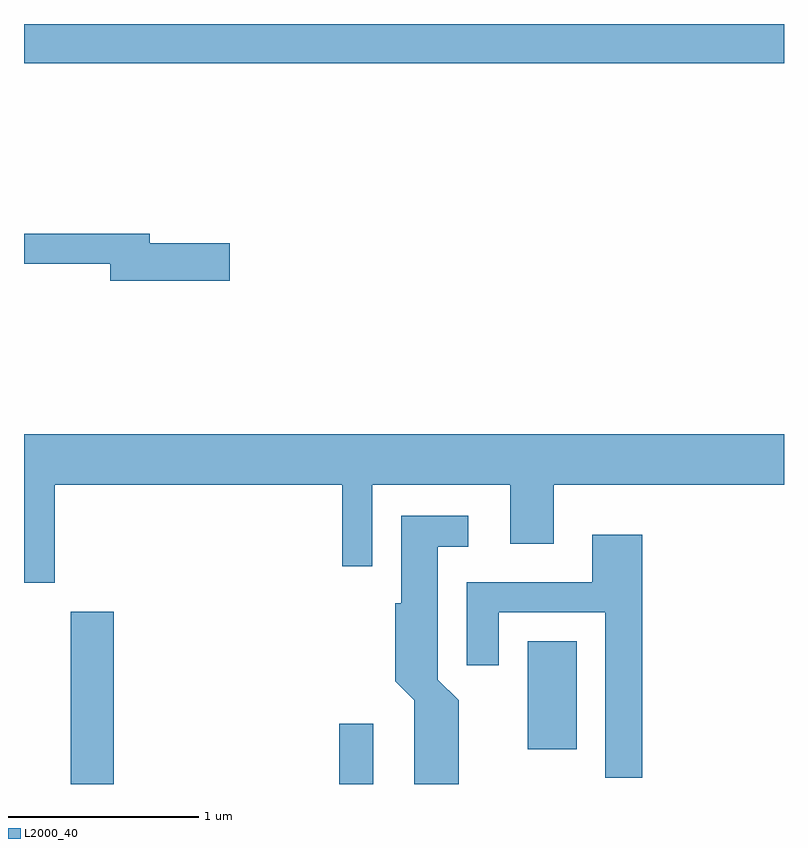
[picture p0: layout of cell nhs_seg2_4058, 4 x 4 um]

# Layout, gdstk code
import gdstk
lib = gdstk.Library(unit=1e-6, precision=1e-09)
def R(c, l, rs):  # rectangles x0, y0, x1, y1
    for r in rs: c.add(gdstk.rectangle(r[:2], r[2:], *l))
def P(c, l, *ps):  # polygons
    for p in ps: c.add(gdstk.Polygon(p, *l))
L2000_40 = (2000, 40)

nhs_seg2_4058 = lib.new_cell('nhs_seg2_4058')
R(nhs_seg2_4058, L2000_40, [(303.856,1097.802,304.084,1098.709), (305.271,1097.802,305.449,1098.119), (306.261,1097.986,306.519,1098.554), (303.611,1101.596,307.611,1101.802)])
P(nhs_seg2_4058, L2000_40, [(304.694,1100.649),(304.274,1100.649),(304.274,1100.699),(303.611,1100.699),(303.611,1100.541),(304.066,1100.541),(304.066,1100.451),(304.694,1100.451)],
  [(303.774,1099.376),(305.286,1099.376),(305.286,1098.948),(305.444,1098.948),(305.444,1099.376),(306.171,1099.376),(306.171,1099.066),(306.399,1099.066),(306.399,1099.376),(307.611,1099.376),(307.611,1099.644),(303.611,1099.644),(303.611,1098.861),(303.774,1098.861)],
  [(305.899,1098.242),(305.789,1098.352),(305.789,1099.051),(305.948,1099.051),(305.948,1099.214),(305.596,1099.214),(305.596,1098.754),(305.566,1098.754),(305.566,1098.344),(305.666,1098.244),(305.666,1097.802),(305.899,1097.802)],
  [(306.864,1099.114),(306.601,1099.114),(306.601,1098.864),(305.941,1098.864),(305.941,1098.428),(306.109,1098.428),(306.109,1098.706),(306.671,1098.706),(306.671,1097.836),(306.864,1097.836)])

lib.write_gds('nhs_seg2_4058.gds')
